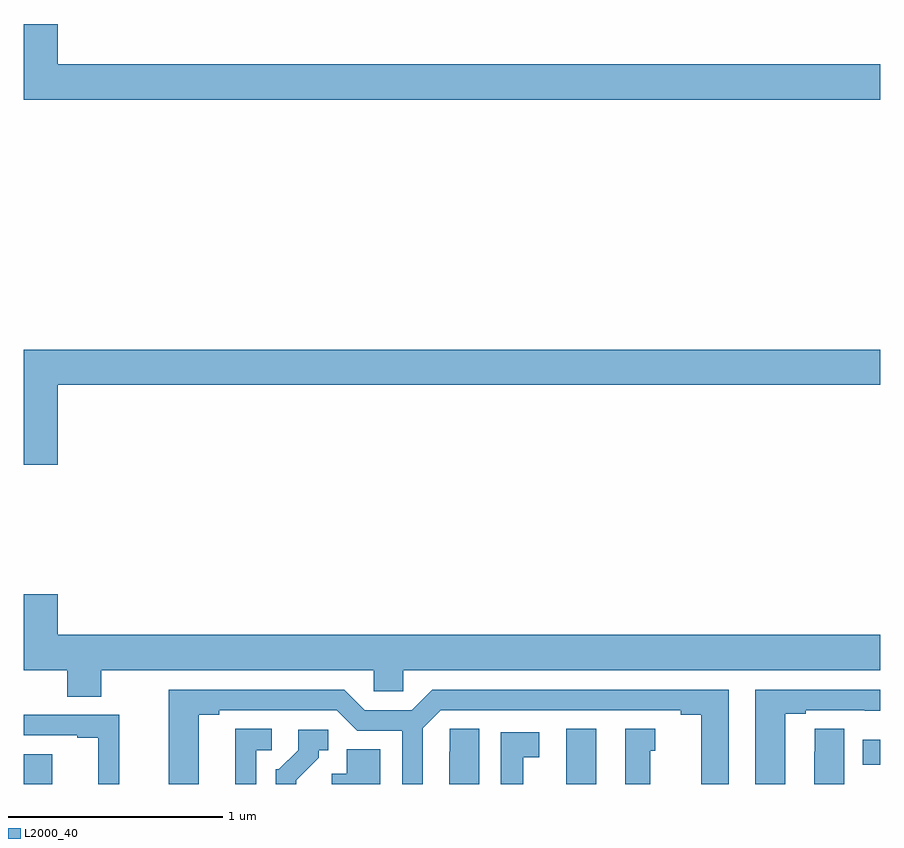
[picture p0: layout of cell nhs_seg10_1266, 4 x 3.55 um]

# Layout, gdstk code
import gdstk
lib = gdstk.Library(unit=1e-6, precision=1e-09)
def R(c, l, rs):  # rectangles x0, y0, x1, y1
    for r in rs: c.add(gdstk.rectangle(r[:2], r[2:], *l))
def P(c, l, *ps):  # polygons
    for p in ps: c.add(gdstk.Polygon(p, *l))
L2000_40 = (2000, 40)

nhs_seg10_1266 = lib.new_cell('nhs_seg10_1266')
R(nhs_seg10_1266, L2000_40, [(177,1250.5,177.133,1250.638), (179.534,1250.5,179.674,1250.758), (180.917,1250.59,181,1250.706)])
P(nhs_seg10_1266, L2000_40, [(181,1253.86),(177.16,1253.86),(177.16,1254.049),(177,1254.049),(177,1253.696),(181,1253.696)],
  [(177.16,1252.364),(181,1252.364),(181,1252.528),(177,1252.528),(177,1251.99),(177.16,1251.99)],
  [(177.363,1251.032),(178.635,1251.032),(178.635,1250.934),(178.773,1250.934),(178.773,1251.032),(181,1251.032),(181,1251.196),(177.16,1251.196),(177.16,1251.385),(177,1251.385),(177,1251.032),(177.203,1251.032),(177.203,1250.908),(177.363,1250.908)],
  [(177.817,1250.824),(177.913,1250.824),(177.913,1250.844),(178.461,1250.844),(178.557,1250.748),(178.767,1250.748),(178.767,1250.5),(178.863,1250.5),(178.863,1250.76),(178.947,1250.844),(180.068,1250.844),(180.068,1250.824),(180.164,1250.824),(180.164,1250.5),(180.292,1250.5),(180.292,1250.94),(178.907,1250.94),(178.811,1250.844),(178.593,1250.844),(178.497,1250.94),(177.677,1250.94),(177.677,1250.5),(177.817,1250.5)],
  [(180.556,1250.829),(180.652,1250.829),(180.652,1250.844),(180.928,1250.844),(180.928,1250.843),(181,1250.843),(181,1250.94),(180.416,1250.94),(180.416,1250.5),(180.556,1250.5)],
  [(177.447,1250.823),(177,1250.823),(177,1250.727),(177.251,1250.727),(177.251,1250.715),(177.347,1250.715),(177.347,1250.5),(177.447,1250.5)],
  [(180.832,1250.759),(180.693,1250.759),(180.693,1250.651),(180.692,1250.651),(180.692,1250.5),(180.832,1250.5)],
  [(179.128,1250.759),(178.989,1250.759),(178.989,1250.651),(178.988,1250.651),(178.988,1250.5),(179.128,1250.5)],
  [(178.086,1250.658),(178.159,1250.658),(178.159,1250.759),(177.989,1250.759),(177.989,1250.5),(178.086,1250.5)],
  [(179.926,1250.655),(179.95,1250.655),(179.95,1250.758),(179.81,1250.758),(179.81,1250.5),(179.926,1250.5)],
  [(178.273,1250.518),(178.378,1250.623),(178.378,1250.658),(178.423,1250.658),(178.423,1250.754),(178.281,1250.754),(178.281,1250.658),(178.191,1250.568),(178.176,1250.568),(178.176,1250.5),(178.273,1250.5)],
  [(179.332,1250.626),(179.407,1250.626),(179.407,1250.742),(179.228,1250.742),(179.228,1250.5),(179.332,1250.5)],
  [(178.666,1250.663),(178.508,1250.663),(178.508,1250.548),(178.439,1250.548),(178.439,1250.5),(178.666,1250.5)])

lib.write_gds('nhs_seg10_1266.gds')
